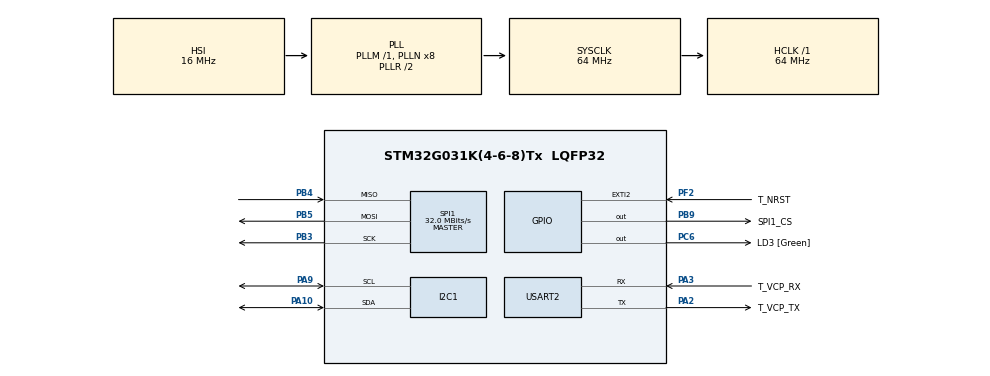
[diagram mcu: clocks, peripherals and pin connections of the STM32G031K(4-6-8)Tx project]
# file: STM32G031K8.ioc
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I2C1.Timing=0x10B17DB5
Mcu.Family=STM32G0
Mcu.Name=STM32G031K(4-6-8)Tx
Mcu.Package=LQFP32
PA10.Mode=I2C
PA10.Signal=I2C1_SDA
PA13.GPIO_Label=T_JTMS
PA13.Mode=Serial_Wire
PA13.Signal=SYS_SWDIO
PA14-BOOT0.GPIO_Label=T_JTCK
PA14-BOOT0.Mode=Serial_Wire
PA14-BOOT0.Signal=SYS_SWCLK
PA2.GPIO_Label=T_VCP_TX
PA2.GPIO_PuPd=GPIO_PULLUP
PA2.Mode=Asynchronous
PA2.Signal=USART2_TX
PA3.GPIO_Label=T_VCP_RX
PA3.GPIO_PuPd=GPIO_PULLUP
PA3.Mode=Asynchronous
PA3.Signal=USART2_RX
PA9.Mode=I2C
PA9.Signal=I2C1_SCL
PB3.Mode=Full_Duplex_Master
PB3.Signal=SPI1_SCK
PB4.Mode=Full_Duplex_Master
PB4.Signal=SPI1_MISO
PB5.Mode=Full_Duplex_Master
PB5.Signal=SPI1_MOSI
PB9.GPIO_Label=SPI1_CS
PB9.Signal=GPIO_Output
PC14-OSC32_IN\ (PC14).Mode=LSE-External-Oscillator
PC14-OSC32_IN\ (PC14).Signal=RCC_OSC32_IN
PC15-OSC32_OUT\ (PC15).Mode=LSE-External-Oscillator
PC15-OSC32_OUT\ (PC15).Signal=RCC_OSC32_OUT
PC6.GPIO_Label=LD3 [Green]
PC6.Signal=GPIO_Output
PF2\ -\ NRST.GPIO_Label=T_NRST
PF2\ -\ NRST.Signal=GPXTI2
ProjectManager.HeapSize=0x200
ProjectManager.StackSize=0x400
ProjectManager.TargetToolchain=STM32CubeIDE
RCC.ADCFreq_Value=64000000
RCC.AHBFreq_Value=64000000
RCC.CortexFreq_Value=64000000
RCC.EXTERNAL_CLOCK_VALUE=12288000
RCC.HCLKFreq_Value=64000000
RCC.HSE_VALUE=8000000
RCC.HSI_VALUE=16000000
RCC.SYSCLKFreq_VALUE=64000000
RCC.SYSCLKSource=RCC_SYSCLKSOURCE_PLLCLK
RCC.VCOOutputFreq_Value=128000000
SPI1.CalculateBaudRate=32.0 MBits/s
SPI1.Direction=SPI_DIRECTION_2LINES
SPI1.Mode=SPI_MODE_MASTER
SPI1.NSSPMode=SPI_NSS_PULSE_DISABLE
SPI1.VirtualType=VM_MASTER
USART2.VirtualMode-Asynchronous=VM_ASYNC
USART2.WordLength=WORDLENGTH_8B
board=NUCLEO-G031K8

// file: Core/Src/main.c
/* USER CODE BEGIN Header */
/**
  ******************************************************************************
  * @file           : main.c
  * @brief          : Main program body
  ******************************************************************************
  * @attention
  *
  * Copyright (c) 2026 STMicroelectronics.
  * All rights reserved.
  *
  * This software is licensed under terms that can be found in the LICENSE file
  * in the root directory of this software component.
  * If no LICENSE file comes with this software, it is provided AS-IS.
  *
  ******************************************************************************
  */
/* USER CODE END Header */
#include "main.h"

/* USER CODE BEGIN Includes */
#include <stdio.h>
#include <string.h>
/* USER CODE END Includes */

/* USER CODE BEGIN PD */

#define SSD1306_ADDR (0x3C << 1)

/* USER CODE END PD */

I2C_HandleTypeDef hi2c1;

SPI_HandleTypeDef hspi1;

UART_HandleTypeDef huart2;

/* USER CODE BEGIN PV */

// screen: 128 * 64 pixels / 8 pixels (bits) per byte = 1024 bytes
uint8_t framebuffer[128 * 64 / 8];

/* USER CODE END PV */

void SystemClock_Config(void);
static void MX_GPIO_Init(void);
static void MX_USART2_UART_Init(void);
static void MX_I2C1_Init(void);
static void MX_SPI1_Init(void);

/* USER CODE BEGIN 0 */

void ssd1306_draw_pixel(uint8_t x, uint8_t y, uint8_t colour) {
	// which byte is pixel in?
	uint16_t byte = x + (y / 8) * 128;
	// which of the 8 bits in that byte is the pixel?
	uint8_t bit = y % 8;
	if (colour) {
		// white
		framebuffer[byte] |= (1 << bit);
	} else {
		// black
		framebuffer[byte] &= ~(1 << bit);
	}
}

void ssd1306_flush(void) {
	// 1 control + 1024 framebuffer
    uint8_t data[1025];
    // 0x40: 'what follows is pixel data'
    data[0] = 0x40;
    memcpy(&data[1], framebuffer, 1024);
    HAL_I2C_Master_Transmit(&hi2c1, SSD1306_ADDR, data, 1025, 100);
}

/* USER CODE END 0 */

int main(void)
{

  /* MCU Configuration--------------------------------------------------------*/

  /* Reset of all peripherals, Initializes the Flash interface and the Systick. */
  HAL_Init();

  /* Configure the system clock */
  SystemClock_Config();

  /* Initialize all configured peripherals */
  MX_GPIO_Init();
  MX_USART2_UART_Init();
  MX_I2C1_Init();
  MX_SPI1_Init();
  /* USER CODE BEGIN 2 */

uint8_t ssd1306_init_cmds[] = {
      0xAE, 0xD5, 0x80, 0xA8, 0x3F, 0xD3, 0x00, 0x40,
      0x8D, 0x14, 0x20, 0x00, 0xA1, 0xC8, 0xDA, 0x12,
      0x81, 0x7F, 0xD9, 0xF1, 0xDB, 0x40, 0xA4, 0xA6, 0xAF
  };
  for (int i = 0; i < sizeof(ssd1306_init_cmds); i++) {
      uint8_t cmd[2] = {0x00, ssd1306_init_cmds[i]};
      HAL_I2C_Master_Transmit(&hi2c1, SSD1306_ADDR, cmd, 2, 100);
  }
  // 0x21: set column address, 0x22: set page address
  uint8_t ssd1306_screen_cmds[] = {0x21, 0, 127, 0x22, 0, 7};
  for (int i = 0; i < 6; i++) {
	  // 0x00: 'what follows is command'
      uint8_t cmd[2] = {0x00, ssd1306_screen_cmds[i]};
      HAL_I2C_Master_Transmit(&hi2c1, SSD1306_ADDR, cmd, 2, 100);
  }

  printf("searching for I2C device\r\n");

  // I2C has 127 total addr (7 bits)
  for (uint8_t addr = 1; addr < 128; addr++) {
	  // stm32g0 hal docs page 351
  if (HAL_I2C_IsDeviceReady(&hi2c1, addr << 1, 1, 10) == HAL_OK) {
		  // %02x : at least 2 digits (32 bits) else prepend 0s
    printf("found I2C device @ 0x%02x\r\n", addr);
  }
  }

  for (int i = 0; i < 64; i++) {
	ssd1306_draw_pixel(i, i, 1);
  }
  ssd1306_flush();

  /* USER CODE END 2 */

  /* Infinite loop */
  /* USER CODE BEGIN WHILE */
  while (1) {
	uint8_t buf[3];
	HAL_I2C_Mem_Read(&hi2c1, 0x68 << 1, 0x00, I2C_MEMADD_SIZE_8BIT, buf, 3, HAL_MAX_DELAY);
	printf("%02x %02x %02x\r\n", buf[2], buf[1], buf[0]);
	HAL_Delay(1000);

    /* USER CODE END WHILE */

  }
}

void SystemClock_Config(void)
{
  RCC_OscInitTypeDef RCC_OscInitStruct = {0};
  RCC_ClkInitTypeDef RCC_ClkInitStruct = {0};

  /** Configure the main internal regulator output voltage
  */
  HAL_PWREx_ControlVoltageScaling(PWR_REGULATOR_VOLTAGE_SCALE1);

  /** Initializes the RCC Oscillators according to the specified parameters
  * in the RCC_OscInitTypeDef structure.
  */
  RCC_OscInitStruct.OscillatorType = RCC_OSCILLATORTYPE_HSI;
  RCC_OscInitStruct.HSIState = RCC_HSI_ON;
  RCC_OscInitStruct.HSIDiv = RCC_HSI_DIV1;
  RCC_OscInitStruct.HSICalibrationValue = RCC_HSICALIBRATION_DEFAULT;
  RCC_OscInitStruct.PLL.PLLState = RCC_PLL_ON;
  RCC_OscInitStruct.PLL.PLLSource = RCC_PLLSOURCE_HSI;
  RCC_OscInitStruct.PLL.PLLM = RCC_PLLM_DIV1;
  RCC_OscInitStruct.PLL.PLLN = 8;
  RCC_OscInitStruct.PLL.PLLP = RCC_PLLP_DIV2;
  RCC_OscInitStruct.PLL.PLLQ = RCC_PLLQ_DIV2;
  RCC_OscInitStruct.PLL.PLLR = RCC_PLLR_DIV2;
  if (HAL_RCC_OscConfig(&RCC_OscInitStruct) != HAL_OK)
  {
    Error_Handler();
  }

  /** Initializes the CPU, AHB and APB buses clocks
  */
  RCC_ClkInitStruct.ClockType = RCC_CLOCKTYPE_HCLK|RCC_CLOCKTYPE_SYSCLK
                              |RCC_CLOCKTYPE_PCLK1;
  RCC_ClkInitStruct.SYSCLKSource = RCC_SYSCLKSOURCE_PLLCLK;
  RCC_ClkInitStruct.AHBCLKDivider = RCC_SYSCLK_DIV1;
  RCC_ClkInitStruct.APB1CLKDivider = RCC_HCLK_DIV1;

  if (HAL_RCC_ClockConfig(&RCC_ClkInitStruct, FLASH_LATENCY_2) != HAL_OK)
  {
    Error_Handler();
  }
}

static void MX_I2C1_Init(void)
{

  hi2c1.Instance = I2C1;
  hi2c1.Init.Timing = 0x10B17DB5;
  hi2c1.Init.OwnAddress1 = 0;
  hi2c1.Init.AddressingMode = I2C_ADDRESSINGMODE_7BIT;
  hi2c1.Init.DualAddressMode = I2C_DUALADDRESS_DISABLE;
  hi2c1.Init.OwnAddress2 = 0;
  hi2c1.Init.OwnAddress2Masks = I2C_OA2_NOMASK;
  hi2c1.Init.GeneralCallMode = I2C_GENERALCALL_DISABLE;
  hi2c1.Init.NoStretchMode = I2C_NOSTRETCH_DISABLE;
  if (HAL_I2C_Init(&hi2c1) != HAL_OK)
  {
    Error_Handler();
  }

  /** Configure Analogue filter
  */
  if (HAL_I2CEx_ConfigAnalogFilter(&hi2c1, I2C_ANALOGFILTER_ENABLE) != HAL_OK)
  {
    Error_Handler();
  }

  /** Configure Digital filter
  */
  if (HAL_I2CEx_ConfigDigitalFilter(&hi2c1, 0) != HAL_OK)
  {
    Error_Handler();
  }

}

static void MX_SPI1_Init(void)
{

  /* SPI1 parameter configuration*/
  hspi1.Instance = SPI1;
  hspi1.Init.Mode = SPI_MODE_MASTER;
  hspi1.Init.Direction = SPI_DIRECTION_2LINES;
  hspi1.Init.DataSize = SPI_DATASIZE_8BIT;
  hspi1.Init.CLKPolarity = SPI_POLARITY_LOW;
  hspi1.Init.CLKPhase = SPI_PHASE_1EDGE;
  hspi1.Init.NSS = SPI_NSS_SOFT;
  hspi1.Init.BaudRatePrescaler = SPI_BAUDRATEPRESCALER_2;
  hspi1.Init.FirstBit = SPI_FIRSTBIT_MSB;
  hspi1.Init.TIMode = SPI_TIMODE_DISABLE;
  hspi1.Init.CRCCalculation = SPI_CRCCALCULATION_DISABLE;
  hspi1.Init.CRCPolynomial = 7;
  hspi1.Init.CRCLength = SPI_CRC_LENGTH_DATASIZE;
  hspi1.Init.NSSPMode = SPI_NSS_PULSE_DISABLE;
  if (HAL_SPI_Init(&hspi1) != HAL_OK)
  {
    Error_Handler();
  }

}

static void MX_USART2_UART_Init(void)
{

  huart2.Instance = USART2;
  huart2.Init.BaudRate = 115200;
  huart2.Init.WordLength = UART_WORDLENGTH_8B;
  huart2.Init.StopBits = UART_STOPBITS_1;
  huart2.Init.Parity = UART_PARITY_NONE;
  huart2.Init.Mode = UART_MODE_TX_RX;
  huart2.Init.HwFlowCtl = UART_HWCONTROL_NONE;
  huart2.Init.OverSampling = UART_OVERSAMPLING_16;
  huart2.Init.OneBitSampling = UART_ONE_BIT_SAMPLE_DISABLE;
  huart2.Init.ClockPrescaler = UART_PRESCALER_DIV1;
  huart2.AdvancedInit.AdvFeatureInit = UART_ADVFEATURE_NO_INIT;
  if (HAL_UART_Init(&huart2) != HAL_OK)
  {
    Error_Handler();
  }

}

static void MX_GPIO_Init(void)
{
  GPIO_InitTypeDef GPIO_InitStruct = {0};

  /* GPIO Ports Clock Enable */
  __HAL_RCC_GPIOB_CLK_ENABLE();
  __HAL_RCC_GPIOC_CLK_ENABLE();
  __HAL_RCC_GPIOF_CLK_ENABLE();
  __HAL_RCC_GPIOA_CLK_ENABLE();

  /*Configure GPIO pin Output Level */
  HAL_GPIO_WritePin(SPI1_CS_GPIO_Port, SPI1_CS_Pin, GPIO_PIN_RESET);

  /*Configure GPIO pin Output Level */
  HAL_GPIO_WritePin(LD3_GPIO_Port, LD3_Pin, GPIO_PIN_RESET);

  /*Configure GPIO pin : SPI1_CS_Pin */
  GPIO_InitStruct.Pin = SPI1_CS_Pin;
  GPIO_InitStruct.Mode = GPIO_MODE_OUTPUT_PP;
  GPIO_InitStruct.Pull = GPIO_NOPULL;
  GPIO_InitStruct.Speed = GPIO_SPEED_FREQ_LOW;
  HAL_GPIO_Init(SPI1_CS_GPIO_Port, &GPIO_InitStruct);

  /*Configure GPIO pin : T_NRST_Pin */
  GPIO_InitStruct.Pin = T_NRST_Pin;
  GPIO_InitStruct.Mode = GPIO_MODE_IT_RISING;
  GPIO_InitStruct.Pull = GPIO_NOPULL;
  HAL_GPIO_Init(T_NRST_GPIO_Port, &GPIO_InitStruct);

  /*Configure GPIO pin : LD3_Pin */
  GPIO_InitStruct.Pin = LD3_Pin;
  GPIO_InitStruct.Mode = GPIO_MODE_OUTPUT_PP;
  GPIO_InitStruct.Pull = GPIO_NOPULL;
  GPIO_InitStruct.Speed = GPIO_SPEED_FREQ_LOW;
  HAL_GPIO_Init(LD3_GPIO_Port, &GPIO_InitStruct);

}

/* USER CODE BEGIN 4 */

int __io_putchar(int ch) {
	HAL_UART_Transmit(&huart2, (uint8_t *) &ch, 1, HAL_MAX_DELAY);
	return ch;
}

/* USER CODE END 4 */

void Error_Handler(void)
{
  __disable_irq();
  while (1)
  {
  }
}
